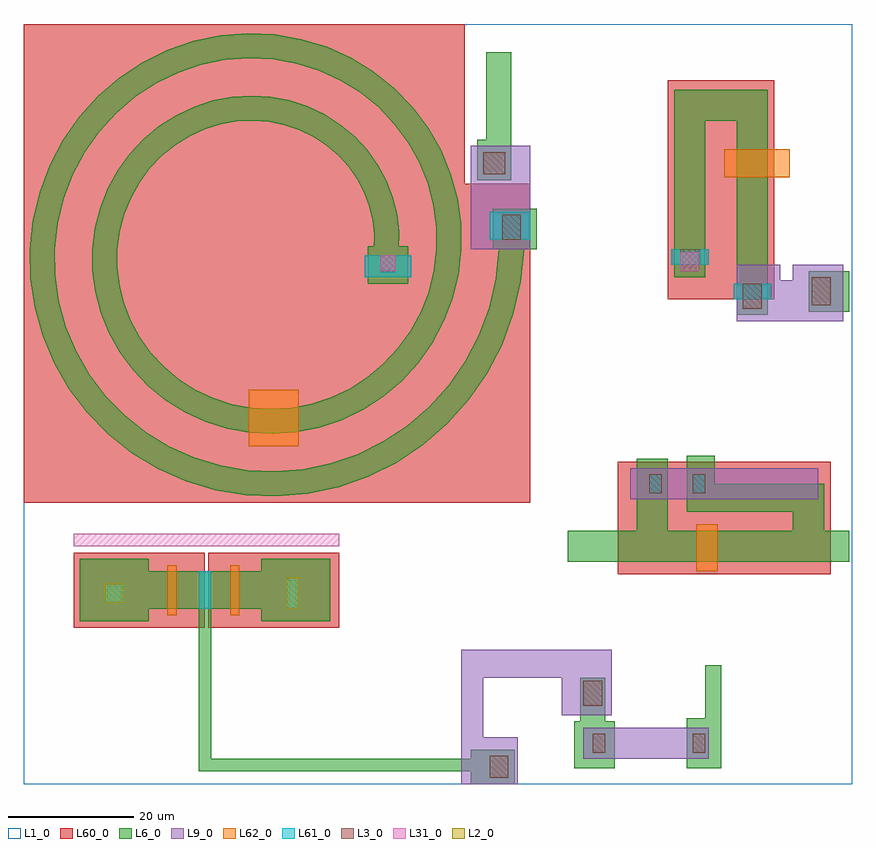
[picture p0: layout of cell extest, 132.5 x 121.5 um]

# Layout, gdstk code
import gdstk
lib = gdstk.Library(unit=1e-6, precision=1e-09)
def R(c, l, rs):  # rectangles x0, y0, x1, y1
    for r in rs: c.add(gdstk.rectangle(r[:2], r[2:], *l))
def P(c, l, *ps):  # polygons
    for p in ps: c.add(gdstk.Polygon(p, *l))
L1_0 = (1, 0)
L2_0 = (2, 0)
L3_0 = (3, 0)
L6_0 = (6, 0)
L9_0 = (9, 0)
L31_0 = (31, 0)
L60_0 = (60, 0)
L61_0 = (61, 0)
L62_0 = (62, 0)

c_z2 = lib.new_cell('z2')
R(c_z2, L3_0, [(-23.5,-14,-21.5,-11), (-7.5,-14,-5.5,-11)])
R(c_z2, L6_0, [(-26.5,-16.5,-20,-9), (-8.5,-16.5,-3,-8.5)])
R(c_z2, L9_0, [(-25,-15,-5,-10)])

extest = lib.new_cell('extest')
R(extest, L1_0, [(-119,-21,13.5,100.5)])
R(extest, L2_0, [(-77,7,-75,12), (-106,8,-103,11)])
R(extest, L3_0, [(-44.5,-20,-41.5,-16.5), (-29.5,-8.5,-26.5,-4.5), (-19,25.5,-17,28.5), (-12,25.5,-10,28.5), (-4,55,-1,59), (7,55.5,10,60), (-62,61,-59.5,63.5), (-14,61,-11,64.5), (-42.5,66,-39.5,70), (-45.5,76.5,-42,80)])
R(extest, L6_0, [(-47.5,-21,-40.5,-15.5), (-91,-19,-47.5,-17), (-91,-17,-89,7), (-30,-11,-26,-4), (-10,-10.5,-7.5,-2), (-110,5,-99,7), (-81,5,-70,7), (-110,7,-70,13), (-110,13,-99,15), (-81,13,-70,15), (-32,14.5,13,19.5), (-21,19.5,-16,31), (4,19.5,9,27), (-13,22.5,-8.5,31.5), (-8.5,22.5,4,27), (-5,54,0,85), (6.5,54.5,13,61), (-64,59,-57.5,65), (-15,60,-10,85), (-44,64.5,-37,71), (-46.5,75.5,-41,82), (-45,82,-41,96), (-15,85,0,90)])
P(extest, L6_0, [(-62.999,64.5),(-62.943,66.781),(-63.177,69.076),(-63.705,71.347),(-64.524,73.557),(-65.628,75.668),(-67.003,77.643),(-68.633,79.448),(-70.497,81.049),(-72.569,82.416),(-74.819,83.521),(-77.214,84.342),(-79.718,84.86),(-82.292,85.059),(-84.897,84.932),(-87.488,84.472),(-90.026,83.682),(-92.466,82.569),(-94.767,81.143),(-96.891,79.423),(-98.797,77.431),(-100.453,75.195),(-101.826,72.746),(-102.889,70.12),(-103.619,67.358),(-103.999,64.5),(-104.016,61.592),(-103.664,58.681),(-102.942,55.812),(-101.855,53.034),(-100.415,50.393),(-98.64,47.934),(-96.552,45.699),(-94.18,43.73),(-91.558,42.06),(-88.724,40.724),(-85.721,39.746),(-82.594,39.15),(-79.392,38.951),(-76.165,39.157),(-72.965,39.773),(-69.844,40.794),(-66.853,42.21),(-64.044,44.004),(-61.463,46.154),(-59.156,48.63),(-57.163,51.396),(-55.523,54.413),(-54.266,57.636),(-53.418,61.016),(-52.999,64.5),(-53.021,68.034),(-53.491,71.563),(-54.407,75.028),(-55.761,78.375),(-57.538,81.546),(-59.713,84.489),(-62.259,87.153),(-65.139,89.492),(-68.311,91.464),(-71.728,93.032),(-75.34,94.165),(-79.09,94.84),(-82.92,95.04),(-86.77,94.754),(-90.579,93.983),(-94.283,92.731),(-97.824,91.012),(-101.142,88.848),(-104.18,86.269),(-106.888,83.309),(-109.216,80.012),(-111.124,76.427),(-112.575,72.607),(-113.54,68.611),(-113.999,64.5),(-113.937,60.339),(-113.35,56.194),(-112.239,52.131),(-110.618,48.217),(-108.506,44.515),(-105.93,41.088),(-102.926,37.994),(-99.539,35.286),(-95.816,33.012),(-91.815,31.213),(-87.595,29.923),(-83.222,29.17),(-78.764,28.97),(-74.291,29.334),(-69.874,30.262),(-65.586,31.745),(-61.495,33.766),(-57.669,36.299),(-54.173,39.309),(-51.065,42.752),(-48.4,46.579),(-46.225,50.732),(-44.58,55.149),(-43.497,59.762),(-42.999,64.5),(-38.999,64.5),(-39.529,59.261),(-40.706,54.155),(-42.506,49.26),(-44.895,44.652),(-47.829,40.401),(-51.257,36.57),(-55.12,33.217),(-59.352,30.389),(-63.883,28.126),(-68.638,26.458),(-73.541,25.405),(-78.512,24.978),(-83.473,25.178),(-88.344,25.994),(-93.051,27.409),(-97.519,29.393),(-101.682,31.909),(-105.476,34.912),(-108.846,38.35),(-111.742,42.164),(-114.123,46.29),(-115.959,50.659),(-117.224,55.199),(-117.906,59.838),(-117.999,64.5),(-117.509,69.112),(-116.449,73.602),(-114.843,77.9),(-112.721,81.939),(-110.124,85.66),(-107.096,89.007),(-103.691,91.93),(-99.967,94.389),(-95.986,96.35),(-91.815,97.787),(-87.52,98.684),(-83.172,99.032),(-78.839,98.832),(-74.591,98.094),(-70.492,96.836),(-66.608,95.083),(-62.995,92.869),(-59.709,90.235),(-56.797,87.227),(-54.301,83.897),(-52.256,80.302),(-50.688,76.501),(-49.617,72.558),(-49.053,68.536),(-48.999,64.5),(-49.45,60.514),(-50.392,56.641),(-51.804,52.941),(-53.658,49.469),(-55.919,46.279),(-58.547,43.416),(-61.494,40.922),(-64.71,38.832),(-68.14,37.174),(-71.728,35.968),(-75.415,35.228),(-79.14,34.958),(-82.845,35.158),(-86.471,35.817),(-89.96,36.919),(-93.261,38.441),(-96.324,40.352),(-99.102,42.617),(-101.556,45.196),(-103.651,48.042),(-105.36,51.107),(-106.661,54.34),(-107.538,57.686),(-107.985,61.091),(-107.999,64.5),(-107.588,67.859),(-106.763,71.115),(-105.545,74.218),(-103.958,77.122),(-102.033,79.782),(-99.806,82.161),(-97.317,84.225),(-94.609,85.946),(-91.729,87.302),(-88.724,88.276),(-85.646,88.861),(-82.544,89.051),(-79.467,88.852),(-76.464,88.271),(-73.583,87.325),(-70.865,86.035),(-68.353,84.426),(-66.083,82.53),(-64.087,80.381),(-62.392,78.019),(-61.019,75.484),(-59.986,72.82),(-59.303,70.071),(-58.974,67.282),(-58.999,64.5)])
R(extest, L9_0, [(-22,24.5,8,29.5), (-5,53,12,59.5), (-5,59.5,2,62), (4,59.5,12,62), (-47.5,64.5,-38,81)])
P(extest, L9_0, [(-49,-21),(-49,0.5),(-25,0.5),(-25,-10),(-33,-10),(-33,-4),(-45.5,-4),(-45.5,-13.5),(-40,-13.5),(-40,-21)])
R(extest, L31_0, [(-111,17,-68.5,19), (-62,61,-59.5,63.5), (-14,61,-11,64)])
R(extest, L60_0, [(-111,4,-90,16), (-89.5,4,-68.5,16), (-24,12.5,10,30.5), (-16,56.5,1,91.5)])
P(extest, L60_0, [(-119,24),(-119,100.5),(-48.5,100.5),(-48.5,75),(-38,75),(-38,24)])
R(extest, L61_0, [(-91,7,-89,13), (-77,7,-75,12), (-106,8,-103,11), (-19,25.5,-17,28.5), (-12,25.5,-10,28.5), (-5.5,56.5,0.5,59), (-64.5,60,-57,63.5), (-15.5,62,-9.5,64.5), (-44.5,66,-38,70.5)])
R(extest, L62_0, [(-96,6,-94.5,14), (-86,6,-84.5,14), (-11.5,13,-8,20.5), (-83,33,-75,42), (-7,76,3.5,80.5)])
extest.add(gdstk.Reference(c_z2, (-4.5,-2)))

lib.write_gds('extest.gds')
